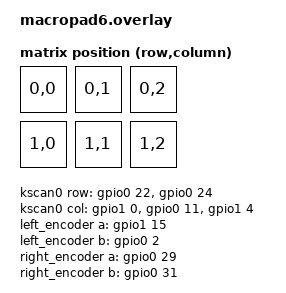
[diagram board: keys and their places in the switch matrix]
/*
 * 6 键宏键盘 + 2 个 EC11 旋钮
 * 主控: nice!nano v2 (nRF52840) 兼容板
 *
 * 接线对照（板上丝印 / 芯片引脚）:
 *   行 1 -> 022 (P0.22)   行 2 -> 024 (P0.24)
 *   列 1 -> 100 (P1.00)   列 2 -> 011 (P0.11)   列 3 -> 104 (P1.04)
 *   旋钮 1: A -> 115 (P1.15), B -> 002 (P0.02), C -> GND
 *   旋钮 2: A -> 029 (P0.29), B -> 031 (P0.31), C -> GND
 *   电池: B+ / B-（正极串拨动开关）
 *   二极管方向: 黑环端朝行线 (col2row)
 */

#include <dt-bindings/zmk/matrix_transform.h>
#include <physical_layouts.dtsi>

/ {
    chosen {
        zmk,kscan = &kscan0;
        /* 注意：这里必须只留 physical-layout。
         * 若再写 zmk,matrix_transform，ZMK v0.3 会判定“未启用 physical layout”，
         * 而开了 ZMK_STUDIO 的固件有这个硬性要求 —— 编译会直接 BUILD_ASSERT 报错。 */
        zmk,physical-layout = &macropad6_physical_layout;
    };

    default_transform: keymap_transform_0 {
        compatible = "zmk,matrix-transform";
        columns = <3>;
        rows = <2>;
        map = <
            RC(0,0) RC(0,1) RC(0,2)
            RC(1,0) RC(1,1) RC(1,2)
        >;
    };

    kscan0: kscan {
        compatible = "zmk,kscan-gpio-matrix";
        diode-direction = "col2row";
        wakeup-source;

        row-gpios
            = <&gpio0 22 (GPIO_ACTIVE_HIGH | GPIO_PULL_DOWN)>   /* 022 -> 行 1 */
            , <&gpio0 24 (GPIO_ACTIVE_HIGH | GPIO_PULL_DOWN)>   /* 024 -> 行 2 */
            ;
        col-gpios
            = <&gpio1 0 GPIO_ACTIVE_HIGH>                       /* 100 -> 列 1 */
            , <&gpio0 11 GPIO_ACTIVE_HIGH>                      /* 011 -> 列 2 */
            , <&gpio1 4 GPIO_ACTIVE_HIGH>                       /* 104 -> 列 3 */
            ;
    };

    /* 物理布局：给 ZMK Studio 网页改键画键盘用，不影响按键功能 */
    macropad6_physical_layout: macropad6_physical_layout {
        compatible = "zmk,physical-layout";
        display-name = "Macropad6";
        transform = <&default_transform>;
        kscan = <&kscan0>;

        keys  //                     w   h    x    y   rot   rx   ry
            = <&key_physical_attrs 100 100    0    0     0    0    0>
            , <&key_physical_attrs 100 100  110    0     0    0    0>
            , <&key_physical_attrs 100 100  220    0     0    0    0>
            , <&key_physical_attrs 100 100    0  110     0    0    0>
            , <&key_physical_attrs 100 100  110  110     0    0    0>
            , <&key_physical_attrs 100 100  220  110     0    0    0>
            ;
    };

    left_encoder: encoder_left {
        compatible = "alps,ec11";
        a-gpios = <&gpio1 15 (GPIO_ACTIVE_HIGH | GPIO_PULL_UP)>;  /* 115 -> 旋钮1 A */
        b-gpios = <&gpio0 2 (GPIO_ACTIVE_HIGH | GPIO_PULL_UP)>;   /* 002 -> 旋钮1 B */
        /* steps = 转一圈的电平边沿总数（不是格数！）。
         * 官方 shield 都写 80，那是「每格 4 个边沿」的常见 EC11 的值。
         * 实测这两颗是「每格 2 个边沿」→ 一圈 20 格 × 2 = 40。
         * 若按 80 写：每格只累到 360/80×2 = 9°，而触发阈值是
         * 360 / triggers-per-rotation = 360/20 = 18°，
         * 结果必须转满 2 格才会触发 1 次 —— 这正是「转一格没反应」的原因。
         * 改成 40 后每格 = 360/40×2 = 18°，正好一格触发一次。 */
        steps = <40>;
        status = "okay";
    };

    right_encoder: encoder_right {
        compatible = "alps,ec11";
        a-gpios = <&gpio0 29 (GPIO_ACTIVE_HIGH | GPIO_PULL_UP)>;  /* 029 -> 旋钮2 A */
        b-gpios = <&gpio0 31 (GPIO_ACTIVE_HIGH | GPIO_PULL_UP)>;  /* 031 -> 旋钮2 B */
        /* 与旋钮 1 同理：每格 2 个边沿 → 一圈 40。写成 80 就会「转两格才动一次」。
         * 若刷完发现转 1 格反而跳 2 次，说明这颗其实是每格 4 边沿，改回 80 即可。 */
        steps = <40>;
        status = "okay";
    };

    sensors: sensors {
        compatible = "zmk,keymap-sensors";
        sensors = <&left_encoder &right_encoder>;
        triggers-per-rotation = <20>;
    };
};
